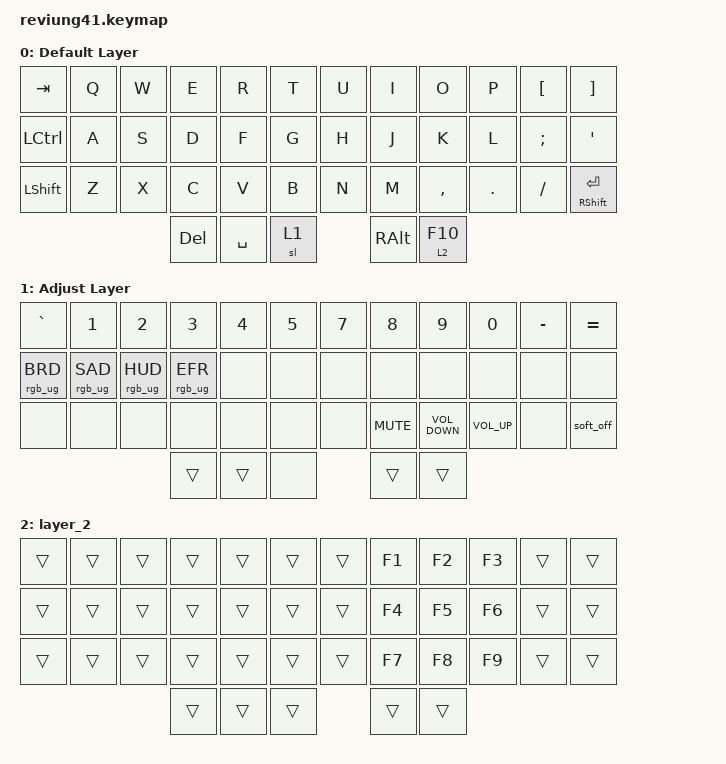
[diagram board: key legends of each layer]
/*
 * Copyright (c) 2020 The ZMK Contributors
 *
 * SPDX-License-Identifier: MIT
 */

#include <behaviors.dtsi>
#include <dt-bindings/zmk/keys.h>
#include <dt-bindings/zmk/rgb.h>

/ {
    combos { compatible = "zmk,combos"; };

    keymap {
        compatible = "zmk,keymap";

        default_layer {
            display-name = "Default Layer";

            // -------------------------------------------------------------------------------------
            // |  TAB |  Q  |  W  |  E  |  R  |  T  |   |  Y  |  U   |  I  |  O  |  P  |   BSPC    |
            // | CTRL |  A  |  S  |  D  |  F  |  G  |   |  H  |  J   |  K  |  L  |  ;  |    '      |
            // | SHFT |  Z  |  X  |  C  |  V  |  B  |   |  N  |  M   |  ,  |  .  |  /  | SHFT(RET) |
            //                         | ALT | LWR | SPC | RSE  | ALT |

            bindings = <
&kp TAB    &kp Q  &kp W  &kp E       &kp R      &kp T         &kp U  &kp I          &kp O      &kp P    &kp LEFT_BRACKET  &kp RIGHT_BRACKET
&kp LCTRL  &kp A  &kp S  &kp D       &kp F      &kp G         &kp H  &kp J          &kp K      &kp L    &kp SEMI          &kp SQT
&kp LSHFT  &kp Z  &kp X  &kp C       &kp V      &kp B         &kp N  &kp M          &kp COMMA  &kp DOT  &kp FSLH          &mt RSHFT RET
                         &kp DELETE  &kp SPACE         &sl 1         &kp RIGHT_ALT  &lt 2 F10
            >;
        };

        adjust_layer {
            display-name = "Adjust Layer";

            // -----------------------------------------------------------------------------------------
            // | RGB BRI+ | RGB SAT+ | RGB HUE+ | RGB ANI+ |    | RGB TOG |   |  BT1  | BT2 | BT3 | BT4 | BT5 | BT CLR |
            // | RGB BRI- | RGB SAT- | RGB HUE- | RGB ANI- |    |         |   |       |     |     |     |     |        |
            // |          |          |          |          |    |         |   | RESET |     |     |     |     |        |
            //                                              |     |     |     |     |     |

            bindings = <
&kp GRAVE        &kp NUMBER_1     &kp NUMBER_2     &kp NUMBER_3     &kp NUMBER_4  &kp NUMBER_5         &kp NUMBER_7  &kp NUMBER_8  &kp NUMBER_9       &kp NUMBER_0     &kp MINUS  &kp EQUAL
&rgb_ug RGB_BRD  &rgb_ug RGB_SAD  &rgb_ug RGB_HUD  &rgb_ug RGB_EFR  &none         &none                &none         &none         &none              &none            &none      &none
&none            &none            &none            &none            &none         &none                &none         &kp C_MUTE    &kp C_VOLUME_DOWN  &kp C_VOLUME_UP  &none      &soft_off
                                                   &trans           &trans                      &none                &trans        &trans
            >;
        };

        layer_2 {
            bindings = <
&trans  &trans  &trans  &trans  &trans  &trans          &trans  &kp F1  &kp F2  &kp F3  &trans  &trans
&trans  &trans  &trans  &trans  &trans  &trans          &trans  &kp F4  &kp F5  &kp F6  &trans  &trans
&trans  &trans  &trans  &trans  &trans  &trans          &trans  &kp F7  &kp F8  &kp F9  &trans  &trans
                        &trans  &trans          &trans          &trans  &trans
            >;
        };
    };
};
